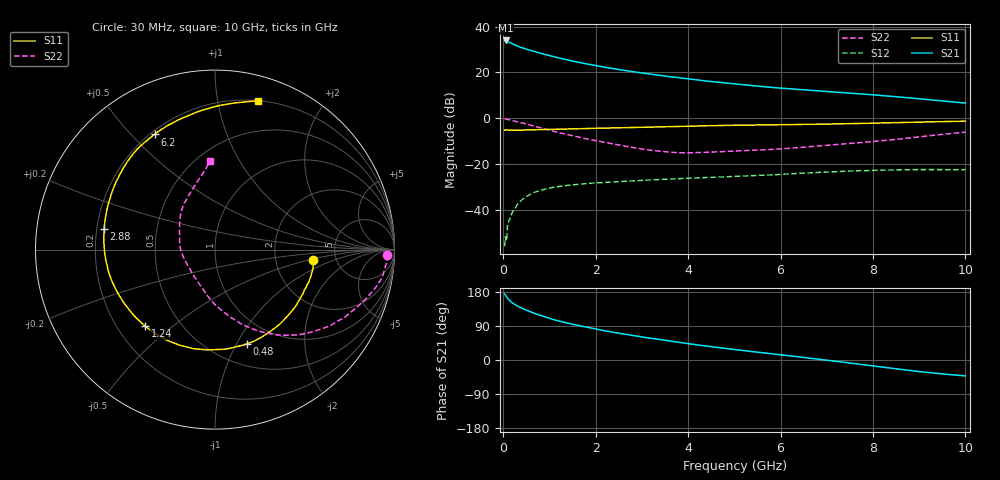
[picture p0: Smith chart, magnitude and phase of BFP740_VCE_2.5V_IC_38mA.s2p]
! Infineon Technologies  Discrete & RF Semiconductors
! BFP740
! VCE =  2.5 V,  IC =  38 mA
! Common Emitter S-Parameters:  Jan 2016
# GHz  S  MA  R  50
!  f  S11  S21  S12  S22
! GHz  MAG  ANG  MAG  ANG  MAG  ANG  MAG  ANG
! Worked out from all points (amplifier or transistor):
!   229 points, 30 MHz to 10 GHz, reference 50 ohm
!   highest |S21| = 34.0 dB at 50 MHz (marker M1)
!   |S21| within 3 dB of that: start of sweep to 379.3 MHz
!   unconditionally stable (mu >= 1): 5.334 GHz to 9.856 GHz
!   at 280 MHz: K = 0.31, MSG = 35.2 dB, |S12| = -38.6 dB
!   at 1.78 GHz: K = 0.56, MSG = 26.2 dB, |S12| = -28.6 dB
!   at 10 GHz: K = 0.99, MSG = 14.5 dB, |S12| = -22.5 dB
!   S11 on the Smith chart (normalised r, x): 30 MHz: 3.33, -0.53; 480 MHz: 0.73, -1.10; 1.24 GHz: 0.32, -0.40; 2.88 GHz: 0.23, +0.09; 6.2 GHz: 0.22, +0.58; 10 GHz: 0.20, +1.31
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0.03  0.5472 -5.8  49.49 174.4  0.0016 85.3  0.9563 -1.8
0.05  0.5551 -9.5  50.05 170.9  0.0026 90.8  0.9596 -4.3
0.08  0.5544 -15.1  49.11 165.0  0.0024 76.7  0.9488 -7.5
0.11  0.5496 -20.8  47.03 160.4  0.0053 81.9  0.9367 -10.8
0.15  0.5478 -27.6  44.74 155.4  0.0066 77.9  0.9127 -14.2
0.2  0.5495 -35.4  42.2 150.3  0.0089 74.6  0.8858 -17.9
0.26  0.5482 -43.9  39.65 145.6  0.0108 74.0  0.8552 -21.8
0.34  0.5496 -54.8  36.54 140.3  0.0141 69.0  0.819 -26.9
0.48  0.5544 -71.3  32.83 132.5  0.0188 62.1  0.7563 -34.8
0.7  0.5602 -94.0  28.08 121.9  0.0245 53.7  0.6618 -45.9
0.82  0.5646 -103.7  26.12 116.9  0.0269 49.6  0.614 -51.0
1  0.5715 -117.6  23.32 109.8  0.0297 44.8  0.5476 -58.2
1.24  0.5765 -132.3  20.34 101.8  0.0327 39.7  0.4756 -66.2
1.7  0.5915 -154.0  16.15 89.0  0.0366 33.4  0.3723 -78.9
2.2  0.6084 -171.8  13.03 77.1  0.0396 29.3  0.2963 -91.9
2.88  0.6284 169.3  10.17 63.2  0.0432 25.1  0.2224 -109.7
3.4  0.6461 157.2  8.611 53.6  0.046 22.7  0.1897 -127.6
5.1  0.7046 128.9  5.488 26.3  0.054 16.2  0.1942 176.5
6.2  0.7245 117.7  4.396 11.1  0.0608 12.3  0.2205 153.9
6.8  0.7401 110.9  3.959 2.4  0.0652 8.9  0.2457 143.2
8.4  0.7965 90.1  3.014 -21.7  0.0741 -3.2  0.337 115.5
10  0.8623 73.9  2.145 -42.0  0.0753 -13.8  0.495 93.2
